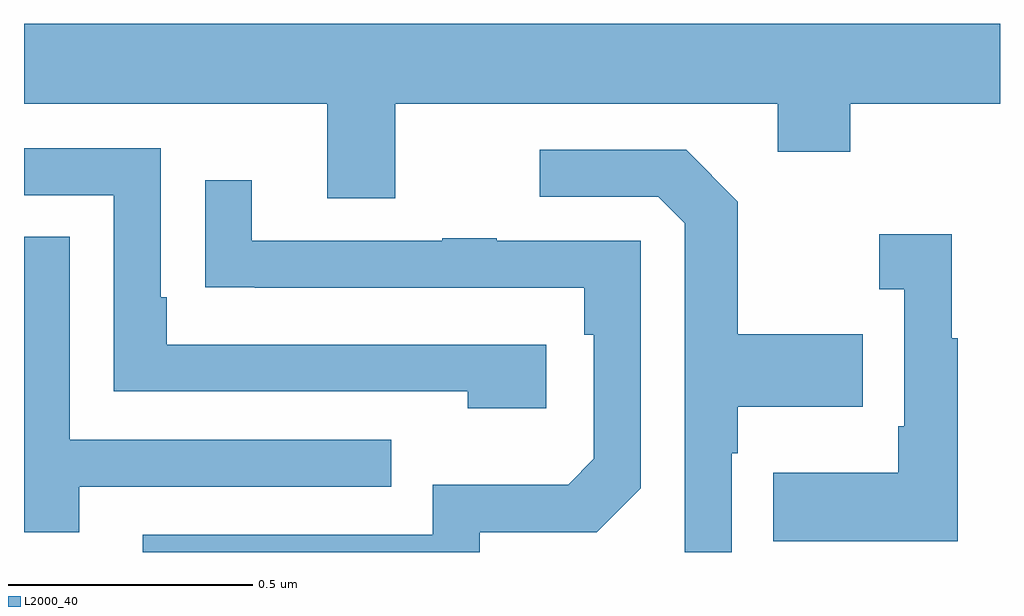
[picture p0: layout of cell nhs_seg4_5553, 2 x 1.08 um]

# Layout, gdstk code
import gdstk
lib = gdstk.Library(unit=1e-6, precision=1e-09)
def P(c, l, *ps):  # polygons
    for p in ps: c.add(gdstk.Polygon(p, *l))
L2000_40 = (2000, 40)

nhs_seg4_5553 = lib.new_cell('nhs_seg4_5553')
P(nhs_seg4_5553, L2000_40, [(179.761,796.82),(180.545,796.82),(180.545,796.721),(180.693,796.721),(180.693,796.82),(181,796.82),(181,796.984),(179,796.984),(179,796.82),(179.621,796.82),(179.621,796.626),(179.761,796.626)],
  [(180.07,796.326),(179.293,796.326),(179.293,796.423),(179.28,796.423),(179.28,796.728),(179,796.728),(179,796.632),(179.184,796.632),(179.184,796.23),(179.909,796.23),(179.909,796.196),(180.07,796.196)],
  [(180.45,796.103),(180.463,796.103),(180.463,796.199),(180.719,796.199),(180.719,796.347),(180.463,796.347),(180.463,796.619),(180.357,796.725),(180.057,796.725),(180.057,796.629),(180.3,796.629),(180.354,796.575),(180.354,795.9),(180.45,795.9)],
  [(179.934,795.942),(180.174,795.942),(180.264,796.032),(180.264,796.539),(179.969,796.539),(179.969,796.544),(179.857,796.544),(179.857,796.539),(179.467,796.539),(179.467,796.663),(179.371,796.663),(179.371,796.444),(179.473,796.444),(179.473,796.443),(180.148,796.443),(180.148,796.346),(180.168,796.346),(180.168,796.092),(180.115,796.039),(179.838,796.039),(179.838,795.936),(179.243,795.936),(179.243,795.9),(179.934,795.9)],
  [(180.913,796.339),(180.901,796.339),(180.901,796.552),(180.753,796.552),(180.753,796.439),(180.804,796.439),(180.804,796.159),(180.792,796.159),(180.792,796.063),(180.535,796.063),(180.535,795.923),(180.913,795.923)],
  [(179.113,796.035),(179.753,796.035),(179.753,796.131),(179.094,796.131),(179.094,796.547),(179,796.547),(179,795.941),(179.113,795.941)])

lib.write_gds('nhs_seg4_5553.gds')
